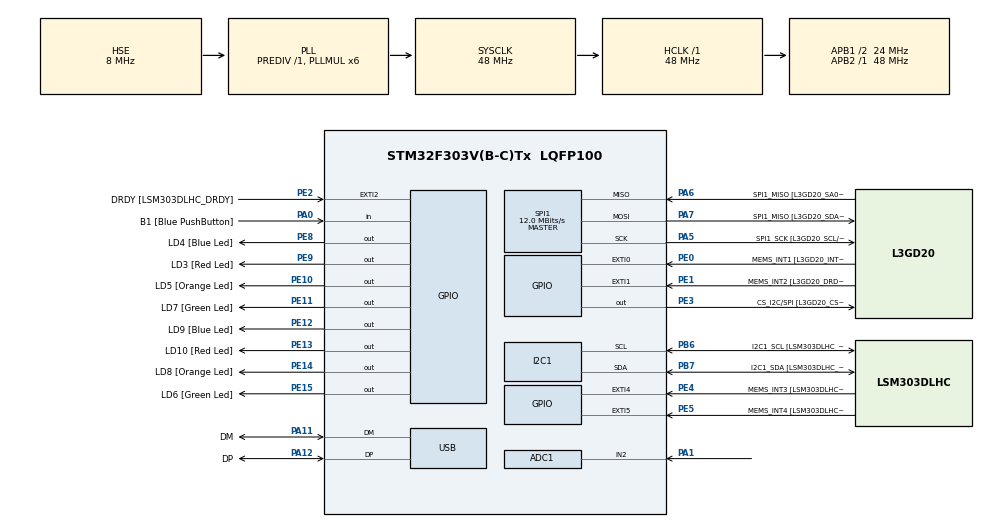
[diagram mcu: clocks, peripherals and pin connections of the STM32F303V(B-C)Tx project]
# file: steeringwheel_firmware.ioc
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ADC1.Channel-0\#ChannelRegularConversion=ADC_CHANNEL_2
ADC1.NbrOfConversionFlag=1
ADC1.Offset-0\#ChannelRegularConversion=0
ADC1.OffsetNumber-0\#ChannelRegularConversion=ADC_OFFSET_NONE
ADC1.Rank-0\#ChannelRegularConversion=1
ADC1.SamplingTime-0\#ChannelRegularConversion=ADC_SAMPLETIME_601CYCLES_5
ADC1.SamplingTimeOPAMP-0\#ChannelRegularConversion=ADC_SAMPLETIME_19CYCLES_5
ADC1.master=1
I2C1.Timing=0x00201D2B
I2C1.Timing-I2C=0x2000090E
Mcu.Family=STM32F3
Mcu.Name=STM32F303V(B-C)Tx
Mcu.Package=LQFP100
NVIC.PriorityGroup=NVIC_PRIORITYGROUP_0
NVIC.USB_LP_CAN_RX0_IRQn=true\:0\:0\:false\:false\:true\:false\:true\:true
PA0.GPIO_Label=B1 [Blue PushButton]
PA0.Signal=GPIO_Input
PA1.Mode=IN2-Single-Ended
PA1.Signal=ADC1_IN2
PA11.GPIO_Label=DM
PA11.Mode=Device
PA11.Signal=USB_DM
PA12.GPIO_Label=DP
PA12.Mode=Device
PA12.Signal=USB_DP
PA13.GPIO_Label=SWDIO
PA13.Mode=Serial_Wire
PA13.Signal=SYS_JTMS-SWDIO
PA14.GPIO_Label=SWCLK
PA14.Mode=Serial_Wire
PA14.Signal=SYS_JTCK-SWCLK
PA5.GPIO_Label=SPI1_SCK [L3GD20_SCL/SPC]
PA5.Mode=Full_Duplex_Master
PA5.Signal=SPI1_SCK
PA6.GPIO_Label=SPI1_MISO [L3GD20_SA0/SDO]
PA6.Mode=Full_Duplex_Master
PA6.Signal=SPI1_MISO
PA7.GPIO_Label=SPI1_MISO [L3GD20_SDA/SDI/SDO]
PA7.Mode=Full_Duplex_Master
PA7.Signal=SPI1_MOSI
PB3.GPIO_Label=SWO
PB3.Signal=SYS_JTDO-TRACESWO
PB6.GPIO_Label=I2C1_SCL [LSM303DLHC_SCL]
PB6.GPIO_Pu=GPIO_PULLUP
PB6.Mode=I2C
PB6.Signal=I2C1_SCL
PB7.GPIO_Label=I2C1_SDA [LSM303DLHC_SDA]
PB7.GPIO_Pu=GPIO_PULLUP
PB7.Mode=I2C
PB7.Signal=I2C1_SDA
PC14-OSC32_IN.GPIO_Label=OSC32_IN
PC14-OSC32_IN.Signal=RCC_OSC32_IN
PC15-OSC32_OUT.GPIO_Label=OSC32_OUT
PC15-OSC32_OUT.Signal=RCC_OSC32_OUT
PE0.GPIO_Label=MEMS_INT1 [L3GD20_INT1]
PE0.GPIO_ModeDefaultEXTI=GPIO_MODE_EVT_RISING
PE0.Signal=GPXTI0
PE1.GPIO_Label=MEMS_INT2 [L3GD20_DRDY/INT2]
PE1.GPIO_ModeDefaultEXTI=GPIO_MODE_EVT_RISING
PE1.Signal=GPXTI1
PE10.GPIO_Label=LD5 [Orange Led]
PE10.Signal=GPIO_Output
PE11.GPIO_Label=LD7 [Green Led]
PE11.Signal=GPIO_Output
PE12.GPIO_Label=LD9 [Blue Led]
PE12.Signal=GPIO_Output
PE13.GPIO_Label=LD10 [Red Led]
PE13.Signal=GPIO_Output
PE14.GPIO_Label=LD8 [Orange Led]
PE14.Signal=GPIO_Output
PE15.GPIO_Label=LD6 [Green Led]
PE15.Signal=GPIO_Output
PE2.GPIO_Label=DRDY [LSM303DLHC_DRDY]
PE2.GPIO_ModeDefaultEXTI=GPIO_MODE_EVT_RISING
PE2.Signal=GPXTI2
PE3.GPIO_Label=CS_I2C/SPI [L3GD20_CS_I2C/SPI]
PE3.Signal=GPIO_Output
PE4.GPIO_Label=MEMS_INT3 [LSM303DLHC_INT1]
PE4.GPIO_ModeDefaultEXTI=GPIO_MODE_EVT_RISING
PE4.Signal=GPXTI4
PE5.GPIO_Label=MEMS_INT4 [LSM303DLHC_INT2]
PE5.GPIO_ModeDefaultEXTI=GPIO_MODE_EVT_RISING
PE5.Signal=GPXTI5
PE8.GPIO_Label=LD4 [Blue Led]
PE8.Signal=GPIO_Output
PE9.GPIO_Label=LD3 [Red Led]
PE9.Signal=GPIO_Output
PF0-OSC_IN.GPIO_Label=OSC_IN
PF0-OSC_IN.Mode=HSE-External-Clock-Source
PF0-OSC_IN.Signal=RCC_OSC_IN
PF1-OSC_OUT.GPIO_Label=OSC_OUT
PF1-OSC_OUT.Signal=RCC_OSC_OUT
ProjectManager.HeapSize=0x200
ProjectManager.StackSize=0x400
ProjectManager.TargetToolchain=CMake
RCC.AHBFreq_Value=48000000
RCC.APB1CLKDivider=RCC_HCLK_DIV2
RCC.APB1Freq_Value=24000000
RCC.APB1TimFreq_Value=48000000
RCC.APB2Freq_Value=48000000
RCC.APB2TimFreq_Value=48000000
RCC.CortexFreq_Value=48000000
RCC.HCLKFreq_Value=48000000
RCC.HSE_VALUE=8000000
RCC.HSI_VALUE=8000000
RCC.LSE_VALUE=32768
RCC.PLLMUL=RCC_PLL_MUL6
RCC.SYSCLKFreq_VALUE=48000000
RCC.SYSCLKSourceVirtual=RCC_SYSCLKSOURCE_PLLCLK
RCC.USBFreq_Value=48000000
SPI1.BaudRatePrescaler=SPI_BAUDRATEPRESCALER_4
SPI1.BaudRatePrescaler-Full_Duplex_Master=SPI_BAUDRATEPRESCALER_2
SPI1.CalculateBaudRate=12.0 MBits/s
SPI1.CalculateBaudRate-Full_Duplex_Master=24.0 MBits/s
SPI1.Direction=SPI_DIRECTION_2LINES
SPI1.Mode=SPI_MODE_MASTER
SPI1.Mode-Full_Duplex_Master=SPI_MODE_MASTER
SPI1.VirtualType=VM_MASTER
USB_DEVICE.CLASS_NAME_FS=CUSTOM_HID
USB_DEVICE.USBD_CUSTOM_HID_REPORT_DESC_SIZE=20
USB_DEVICE.VirtualMode=CustomHid
USB_DEVICE.VirtualModeFS=Custom_Hid_FS
VP_USB_DEVICE_VS_USB_DEVICE_CUSTOM_HID_FS.Mode=CUSTOM_HID_FS
board=STM32F3DISCOVERY

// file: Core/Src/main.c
/* USER CODE BEGIN Header */
/**
  ******************************************************************************
  * @file           : main.c
  * @brief          : Main program body
  ******************************************************************************
  */
/* USER CODE END Header */
#include "main.h"
#include "usb_device.h"

/* USER CODE BEGIN Includes */
#include "usbd_custom_hid_if.h"
extern USBD_HandleTypeDef hUsbDeviceFS;
/* USER CODE END Includes */

ADC_HandleTypeDef hadc1;

I2C_HandleTypeDef hi2c1;

SPI_HandleTypeDef hspi1;

/* USER CODE BEGIN PV */
JoystickReport_t joystick_report = {0};
/* USER CODE END PV */

void SystemClock_Config(void);
static void MX_GPIO_Init(void);
static void MX_ADC1_Init(void);
static void MX_I2C1_Init(void);
static void MX_SPI1_Init(void);

/* USER CODE BEGIN 0 */
#define ADC_OVERSAMPLE_COUNT  16
#define ADC_DEADBAND_DIFF     4

static uint16_t Read_Potentiometer_Filtered(void)
{
  static float   filtered_val = 0.0f;
  static uint16_t last_output = 0;
  static uint8_t  initialized = 0;

  uint16_t raw_samples[ADC_OVERSAMPLE_COUNT];

  for (int i = 0; i < ADC_OVERSAMPLE_COUNT; i++)
  {
    HAL_ADC_Start(&hadc1);
    if (HAL_ADC_PollForConversion(&hadc1, 5) == HAL_OK)
    {
      raw_samples[i] = (uint16_t)HAL_ADC_GetValue(&hadc1);
    }
    else
    {
      raw_samples[i] = (i > 0) ? raw_samples[i - 1] : 2048;
    }
    HAL_ADC_Stop(&hadc1);
  }

  for (int i = 1; i < ADC_OVERSAMPLE_COUNT; i++)
  {
    uint16_t key = raw_samples[i];
    int j = i - 1;
    while (j >= 0 && raw_samples[j] > key)
    {
      raw_samples[j + 1] = raw_samples[j];
      j--;
    }
    raw_samples[j + 1] = key;
  }

  uint32_t sum = 0;
  for (int i = 2; i < ADC_OVERSAMPLE_COUNT - 2; i++)
  {
    sum += raw_samples[i];
  }
  uint16_t trimmed_mean = (uint16_t)(sum / (ADC_OVERSAMPLE_COUNT - 4));

  if (!initialized)
  {
    filtered_val = (float)trimmed_mean;
    last_output = trimmed_mean;
    initialized = 1;
    return last_output;
  }

  filtered_val += 0.25f * ((float)trimmed_mean - filtered_val);
  uint16_t smoothed = (uint16_t)(filtered_val + 0.5f);

  int32_t diff = (int32_t)smoothed - (int32_t)last_output;
  if (diff < 0)
  {
    diff = -diff;
  }

  if (diff >= ADC_DEADBAND_DIFF)
  {
    last_output = smoothed;
  }

  if (last_output <= 8)
  {
    return 0;
  }
  if (last_output >= 4087)
  {
    return 4095;
  }

  return last_output;
}
/* USER CODE END 0 */

int main(void)
{

  /* MCU Configuration--------------------------------------------------------*/

  /* Reset of all peripherals, Initializes the Flash interface and the Systick. */
  HAL_Init();

  /* USER CODE BEGIN Init */
  __HAL_RCC_GPIOA_CLK_ENABLE();
  GPIO_InitTypeDef GPIO_InitStruct = {0};
  GPIO_InitStruct.Pin = GPIO_PIN_12;
  GPIO_InitStruct.Mode = GPIO_MODE_OUTPUT_PP;
  GPIO_InitStruct.Pull = GPIO_NOPULL;
  GPIO_InitStruct.Speed = GPIO_SPEED_FREQ_LOW;
  HAL_GPIO_Init(GPIOA, &GPIO_InitStruct);
  HAL_GPIO_WritePin(GPIOA, GPIO_PIN_12, GPIO_PIN_RESET);
  HAL_Delay(100);
  HAL_GPIO_DeInit(GPIOA, GPIO_PIN_12);
  /* USER CODE END Init */

  /* Configure the system clock */
  SystemClock_Config();

  /* Initialize all configured peripherals */
  MX_GPIO_Init();
  MX_ADC1_Init();
  MX_I2C1_Init();
  MX_SPI1_Init();
  MX_USB_DEVICE_Init();
  /* USER CODE BEGIN 2 */
  HAL_ADCEx_Calibration_Start(&hadc1, ADC_SINGLE_ENDED);
  /* USER CODE END 2 */

  /* Infinite loop */
  /* USER CODE BEGIN WHILE */
  uint32_t blink_timer = 0;

  while (1)
  {
    if (HAL_GetTick() - blink_timer >= 500)
    {
      blink_timer = HAL_GetTick();
      HAL_GPIO_TogglePin(LD3_GPIO_Port, LD3_Pin);
    }

    if (hUsbDeviceFS.dev_state == USBD_STATE_CONFIGURED)
    {
      HAL_GPIO_WritePin(LD7_GPIO_Port, LD7_Pin, GPIO_PIN_SET);
      joystick_report.x = Read_Potentiometer_Filtered();
      USBD_CUSTOM_HID_SendReport(&hUsbDeviceFS, (uint8_t *)&joystick_report, sizeof(joystick_report));
    }
    else
    {
      HAL_GPIO_WritePin(LD7_GPIO_Port, LD7_Pin, GPIO_PIN_RESET);
    }

    HAL_Delay(10);
    /* USER CODE END WHILE */

  }
}

void SystemClock_Config(void)
{
  RCC_OscInitTypeDef RCC_OscInitStruct = {0};
  RCC_ClkInitTypeDef RCC_ClkInitStruct = {0};
  RCC_PeriphCLKInitTypeDef PeriphClkInit = {0};

  /** Initializes the RCC Oscillators according to the specified parameters
  * in the RCC_OscInitTypeDef structure.
  */
  RCC_OscInitStruct.OscillatorType = RCC_OSCILLATORTYPE_HSI|RCC_OSCILLATORTYPE_HSE;
  RCC_OscInitStruct.HSEState = RCC_HSE_BYPASS;
  RCC_OscInitStruct.HSEPredivValue = RCC_HSE_PREDIV_DIV1;
  RCC_OscInitStruct.HSIState = RCC_HSI_ON;
  RCC_OscInitStruct.HSICalibrationValue = RCC_HSICALIBRATION_DEFAULT;
  RCC_OscInitStruct.PLL.PLLState = RCC_PLL_ON;
  RCC_OscInitStruct.PLL.PLLSource = RCC_PLLSOURCE_HSE;
  RCC_OscInitStruct.PLL.PLLMUL = RCC_PLL_MUL6;
  if (HAL_RCC_OscConfig(&RCC_OscInitStruct) != HAL_OK)
  {
    Error_Handler();
  }

  /** Initializes the CPU, AHB and APB buses clocks
  */
  RCC_ClkInitStruct.ClockType = RCC_CLOCKTYPE_HCLK|RCC_CLOCKTYPE_SYSCLK
                              |RCC_CLOCKTYPE_PCLK1|RCC_CLOCKTYPE_PCLK2;
  RCC_ClkInitStruct.SYSCLKSource = RCC_SYSCLKSOURCE_PLLCLK;
  RCC_ClkInitStruct.AHBCLKDivider = RCC_SYSCLK_DIV1;
  RCC_ClkInitStruct.APB1CLKDivider = RCC_HCLK_DIV2;
  RCC_ClkInitStruct.APB2CLKDivider = RCC_HCLK_DIV1;

  if (HAL_RCC_ClockConfig(&RCC_ClkInitStruct, FLASH_LATENCY_1) != HAL_OK)
  {
    Error_Handler();
  }
  PeriphClkInit.PeriphClockSelection = RCC_PERIPHCLK_USB|RCC_PERIPHCLK_I2C1
                              |RCC_PERIPHCLK_ADC12;
  PeriphClkInit.Adc12ClockSelection = RCC_ADC12PLLCLK_DIV1;
  PeriphClkInit.I2c1ClockSelection = RCC_I2C1CLKSOURCE_HSI;
  PeriphClkInit.USBClockSelection = RCC_USBCLKSOURCE_PLL;
  if (HAL_RCCEx_PeriphCLKConfig(&PeriphClkInit) != HAL_OK)
  {
    Error_Handler();
  }
}

static void MX_ADC1_Init(void)
{

  ADC_MultiModeTypeDef multimode = {0};
  ADC_ChannelConfTypeDef sConfig = {0};

  /** Common config
  */
  hadc1.Instance = ADC1;
  hadc1.Init.ClockPrescaler = ADC_CLOCK_ASYNC_DIV1;
  hadc1.Init.Resolution = ADC_RESOLUTION_12B;
  hadc1.Init.ScanConvMode = ADC_SCAN_DISABLE;
  hadc1.Init.ContinuousConvMode = DISABLE;
  hadc1.Init.DiscontinuousConvMode = DISABLE;
  hadc1.Init.ExternalTrigConvEdge = ADC_EXTERNALTRIGCONVEDGE_NONE;
  hadc1.Init.ExternalTrigConv = ADC_SOFTWARE_START;
  hadc1.Init.DataAlign = ADC_DATAALIGN_RIGHT;
  hadc1.Init.NbrOfConversion = 1;
  hadc1.Init.DMAContinuousRequests = DISABLE;
  hadc1.Init.EOCSelection = ADC_EOC_SINGLE_CONV;
  hadc1.Init.LowPowerAutoWait = DISABLE;
  hadc1.Init.Overrun = ADC_OVR_DATA_OVERWRITTEN;
  if (HAL_ADC_Init(&hadc1) != HAL_OK)
  {
    Error_Handler();
  }

  /** Configure the ADC multi-mode
  */
  multimode.Mode = ADC_MODE_INDEPENDENT;
  if (HAL_ADCEx_MultiModeConfigChannel(&hadc1, &multimode) != HAL_OK)
  {
    Error_Handler();
  }

  /** Configure Regular Channel
  */
  sConfig.Channel = ADC_CHANNEL_2;
  sConfig.Rank = ADC_REGULAR_RANK_1;
  sConfig.SingleDiff = ADC_SINGLE_ENDED;
  sConfig.SamplingTime = ADC_SAMPLETIME_601CYCLES_5;
  sConfig.OffsetNumber = ADC_OFFSET_NONE;
  sConfig.Offset = 0;
  if (HAL_ADC_ConfigChannel(&hadc1, &sConfig) != HAL_OK)
  {
    Error_Handler();
  }

}

static void MX_I2C1_Init(void)
{

  hi2c1.Instance = I2C1;
  hi2c1.Init.Timing = 0x00201D2B;
  hi2c1.Init.OwnAddress1 = 0;
  hi2c1.Init.AddressingMode = I2C_ADDRESSINGMODE_7BIT;
  hi2c1.Init.DualAddressMode = I2C_DUALADDRESS_DISABLE;
  hi2c1.Init.OwnAddress2 = 0;
  hi2c1.Init.OwnAddress2Masks = I2C_OA2_NOMASK;
  hi2c1.Init.GeneralCallMode = I2C_GENERALCALL_DISABLE;
  hi2c1.Init.NoStretchMode = I2C_NOSTRETCH_DISABLE;
  if (HAL_I2C_Init(&hi2c1) != HAL_OK)
  {
    Error_Handler();
  }

  /** Configure Analogue filter
  */
  if (HAL_I2CEx_ConfigAnalogFilter(&hi2c1, I2C_ANALOGFILTER_ENABLE) != HAL_OK)
  {
    Error_Handler();
  }

  /** Configure Digital filter
  */
  if (HAL_I2CEx_ConfigDigitalFilter(&hi2c1, 0) != HAL_OK)
  {
    Error_Handler();
  }

}

static void MX_SPI1_Init(void)
{

  /* SPI1 parameter configuration*/
  hspi1.Instance = SPI1;
  hspi1.Init.Mode = SPI_MODE_MASTER;
  hspi1.Init.Direction = SPI_DIRECTION_2LINES;
  hspi1.Init.DataSize = SPI_DATASIZE_4BIT;
  hspi1.Init.CLKPolarity = SPI_POLARITY_LOW;
  hspi1.Init.CLKPhase = SPI_PHASE_1EDGE;
  hspi1.Init.NSS = SPI_NSS_SOFT;
  hspi1.Init.BaudRatePrescaler = SPI_BAUDRATEPRESCALER_4;
  hspi1.Init.FirstBit = SPI_FIRSTBIT_MSB;
  hspi1.Init.TIMode = SPI_TIMODE_DISABLE;
  hspi1.Init.CRCCalculation = SPI_CRCCALCULATION_DISABLE;
  hspi1.Init.CRCPolynomial = 7;
  hspi1.Init.CRCLength = SPI_CRC_LENGTH_DATASIZE;
  hspi1.Init.NSSPMode = SPI_NSS_PULSE_ENABLE;
  if (HAL_SPI_Init(&hspi1) != HAL_OK)
  {
    Error_Handler();
  }

}

static void MX_GPIO_Init(void)
{
  GPIO_InitTypeDef GPIO_InitStruct = {0};

  /* GPIO Ports Clock Enable */
  __HAL_RCC_GPIOE_CLK_ENABLE();
  __HAL_RCC_GPIOC_CLK_ENABLE();
  __HAL_RCC_GPIOF_CLK_ENABLE();
  __HAL_RCC_GPIOA_CLK_ENABLE();
  __HAL_RCC_GPIOB_CLK_ENABLE();

  /*Configure GPIO pin Output Level */
  HAL_GPIO_WritePin(GPIOE, CS_I2C_SPI_Pin|LD4_Pin|LD3_Pin|LD5_Pin
                          |LD7_Pin|LD9_Pin|LD10_Pin|LD8_Pin
                          |LD6_Pin, GPIO_PIN_RESET);

  /*Configure GPIO pins : DRDY_Pin MEMS_INT3_Pin MEMS_INT4_Pin MEMS_INT1_Pin
                           MEMS_INT2_Pin */
  GPIO_InitStruct.Pin = DRDY_Pin|MEMS_INT3_Pin|MEMS_INT4_Pin|MEMS_INT1_Pin
                          |MEMS_INT2_Pin;
  GPIO_InitStruct.Mode = GPIO_MODE_EVT_RISING;
  GPIO_InitStruct.Pull = GPIO_NOPULL;
  HAL_GPIO_Init(GPIOE, &GPIO_InitStruct);

  /*Configure GPIO pins : CS_I2C_SPI_Pin LD4_Pin LD3_Pin LD5_Pin
                           LD7_Pin LD9_Pin LD10_Pin LD8_Pin
                           LD6_Pin */
  GPIO_InitStruct.Pin = CS_I2C_SPI_Pin|LD4_Pin|LD3_Pin|LD5_Pin
                          |LD7_Pin|LD9_Pin|LD10_Pin|LD8_Pin
                          |LD6_Pin;
  GPIO_InitStruct.Mode = GPIO_MODE_OUTPUT_PP;
  GPIO_InitStruct.Pull = GPIO_NOPULL;
  GPIO_InitStruct.Speed = GPIO_SPEED_FREQ_LOW;
  HAL_GPIO_Init(GPIOE, &GPIO_InitStruct);

  /*Configure GPIO pin : B1_Pin */
  GPIO_InitStruct.Pin = B1_Pin;
  GPIO_InitStruct.Mode = GPIO_MODE_INPUT;
  GPIO_InitStruct.Pull = GPIO_NOPULL;
  HAL_GPIO_Init(B1_GPIO_Port, &GPIO_InitStruct);

}

void Error_Handler(void)
{
  __disable_irq();
  while (1)
  {
  }
}
